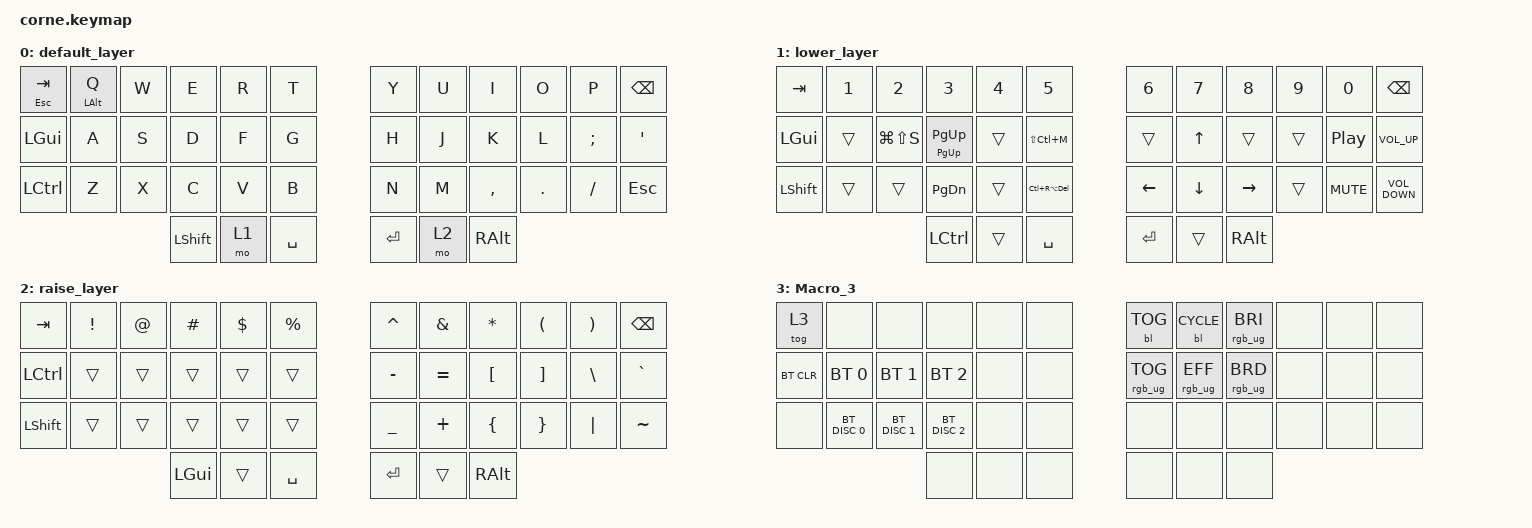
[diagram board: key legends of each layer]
/*
 * Copyright (c) 2020 The ZMK Contributors
 *
 * SPDX-License-Identifier: MIT
 */

#include <behaviors.dtsi>
#include <dt-bindings/zmk/backlight.h>
#include <dt-bindings/zmk/bt.h>
#include <dt-bindings/zmk/keys.h>
#include <dt-bindings/zmk/rgb.h>

/ {
    combos {
        compatible = "zmk,combos";

        MacroLayer {
            bindings = <&tog 3>;
            key-positions = <24 37 40 35>;
        };

        del {
            bindings = <&kp DEL>;
            key-positions = <10 11>;
        };
    };

    keymap {
        compatible = "zmk,keymap";

        default_layer {
            // -----------------------------------------------------------------------------------------
            // |  TAB |  Q  |  W  |  E  |  R  |  T  |   |  Y  |  U   |  I  |  O  |  P  | BSPC |
            // | GUI  |  A  |  S  |  D  |  F  |  G  |   |  H  |  J   |  K  |  L  |  ;  |  '   |
            // | CTRL |  Z  |  X  |  C  |  V  |  B  |   |  N  |  M   |  ,  |  .  |  /  | ESC  |
            //                    | LSHFT | LWR | SPC |   | ENT | RSE  | ALT |

            bindings = <
&mt ESC TAB       &mt LEFT_ALT Q  &kp W  &kp E       &kp R  &kp T        &kp Y    &kp U  &kp I      &kp O    &kp P     &kp BSPC
&kp LGUI          &kp A           &kp S  &kp D       &kp F  &kp G        &kp H    &kp J  &kp K      &kp L    &kp SEMI  &kp SQT
&kp LEFT_CONTROL  &kp Z           &kp X  &kp C       &kp V  &kp B        &kp N    &kp M  &kp COMMA  &kp DOT  &kp FSLH  &kp ESC
                                         &kp LSHIFT  &mo 1  &kp SPACE    &kp RET  &mo 2  &kp RALT
            >;
        };

        lower_layer {
            // -----------------------------------------------------------------------------------------
            // |  TAB |  1  |  2  |  3  |  4  |  5  |   |  6  |  7  |  8  |  9  |  0  | BSPC |
            // | BTCLR| BT1 | BT2 | BT3 | BT4 | BT5 |   |     | UP  |     |     |     |      |
            // | SHFT |     |     |     |     |     |   |  LFT| DWN |  RGT|     |     |      |
            //                    | CTRL|     | SPC |   | ENT |     | ALT |

            bindings = <
&kp TAB       &kp N1  &kp N2         &kp N3               &kp N4  &kp N5             &kp N6    &kp N7    &kp N8     &kp N9  &kp N0            &kp BSPC
&kp LEFT_GUI  &trans  &kp LG(LS(S))  &mt PAGE_UP PAGE_UP  &trans  &kp LS(LC(M))      &trans    &kp UP    &trans     &trans  &kp C_PLAY_PAUSE  &kp C_VOLUME_UP
&kp LSHFT     &trans  &trans         &kp PAGE_DOWN        &trans  &kp LC(RA(DEL))    &kp LEFT  &kp DOWN  &kp RIGHT  &trans  &kp C_MUTE        &kp C_VOLUME_DOWN
                                     &kp LCTRL            &trans  &kp SPACE          &kp RET   &trans    &kp RALT
            >;
        };

        raise_layer {
            // -----------------------------------------------------------------------------------------
            // |  TAB |  !  |  @  |  #  |  $  |  %  |   |  ^  |  &  |  *  |  (  |  )  | BSPC |
            // | CTRL |     |     |     |     |     |   |  -  |  =  |  [  |  ]  |  \  |  `   |
            // | SHFT |     |     |     |     |     |   |  _  |  +  |  {  |  }  | "|" |  ~   |
            //                    | GUI |     | SPC |   | ENT |     | ALT |

            bindings = <
&kp TAB    &kp EXCL  &kp AT  &kp HASH  &kp DLLR  &kp PRCNT    &kp CARET  &kp AMPS   &kp ASTRK  &kp LPAR  &kp RPAR  &kp BSPC
&kp LCTRL  &trans    &trans  &trans    &trans    &trans       &kp MINUS  &kp EQUAL  &kp LBKT   &kp RBKT  &kp BSLH  &kp GRAVE
&kp LSHFT  &trans    &trans  &trans    &trans    &trans       &kp UNDER  &kp PLUS   &kp LBRC   &kp RBRC  &kp PIPE  &kp TILDE
                             &kp LGUI  &trans    &kp SPACE    &kp RET    &trans     &kp RALT
            >;
        };

        Macro_3 {
            bindings = <
&tog 3      &none          &none          &none          &none  &none    &bl BL_TOG       &bl BL_CYCLE     &rgb_ug RGB_BRI  &none  &none  &none
&bt BT_CLR  &bt BT_SEL 0   &bt BT_SEL 1   &bt BT_SEL 2   &none  &none    &rgb_ug RGB_TOG  &rgb_ug RGB_EFF  &rgb_ug RGB_BRD  &none  &none  &none
&none       &bt BT_DISC 0  &bt BT_DISC 1  &bt BT_DISC 2  &none  &none    &none            &none            &none            &none  &none  &none
                                          &none          &none  &none    &none            &none            &none
            >;
        };
    };
};
